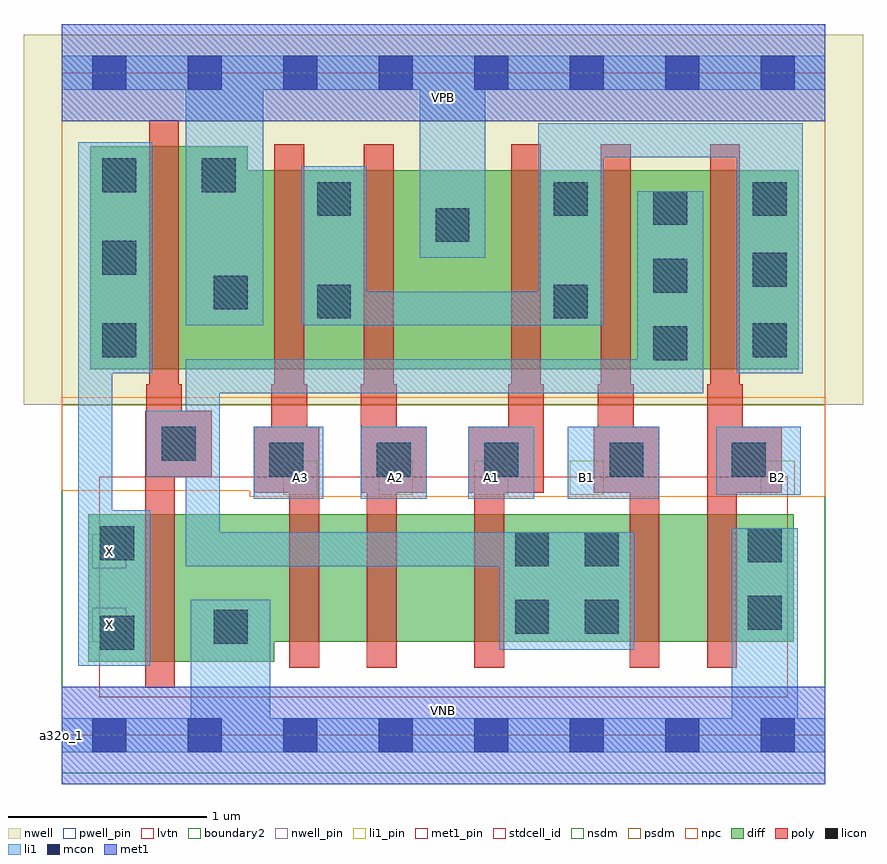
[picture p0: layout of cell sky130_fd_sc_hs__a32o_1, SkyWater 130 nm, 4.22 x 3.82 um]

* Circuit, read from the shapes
.subckt sky130_fd_sc_hs__a32o_1 A1 A2 A3 B1 B2 VGND VNB VPB VPWR X
XM1 VGND n1 X VNB sky130_fd_pr__nfet_01v8_lvt w=0.74 l=0.15
XM2 n2 A3 VGND VNB sky130_fd_pr__nfet_01v8_lvt w=0.64 l=0.15
XM3 n3 A2 n2 VNB sky130_fd_pr__nfet_01v8_lvt w=0.64 l=0.15
XM4 n1 A1 n3 VNB sky130_fd_pr__nfet_01v8_lvt w=0.64 l=0.15
XM5 n4 B1 n1 VNB sky130_fd_pr__nfet_01v8_lvt w=0.64 l=0.15
XM6 VGND B2 n4 VNB sky130_fd_pr__nfet_01v8_lvt w=0.64 l=0.15
XM7 VPWR n1 X VPB sky130_fd_pr__pfet_01v8 w=1.12 l=0.15
XM8 n5 A3 VPWR VPB sky130_fd_pr__pfet_01v8 w=1 l=0.15
XM9 VPWR A2 n5 VPB sky130_fd_pr__pfet_01v8 w=1 l=0.15
XM10 n5 A1 VPWR VPB sky130_fd_pr__pfet_01v8 w=1 l=0.15
XM11 n1 B1 n5 VPB sky130_fd_pr__pfet_01v8 w=1 l=0.15
XM12 n5 B2 n1 VPB sky130_fd_pr__pfet_01v8 w=1 l=0.15
.ends

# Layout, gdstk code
import gdstk
lib = gdstk.Library(unit=1e-6, precision=1e-09)
def R(c, l, rs):  # rectangles x0, y0, x1, y1
    for r in rs: c.add(gdstk.rectangle(r[:2], r[2:], *l))
def A(c, l, x, y, w, h, nx, ny, dx, dy):  # array of equal rectangles
    R(c, l, [(x+i*dx, y+j*dy, x+i*dx+w, y+j*dy+h) for i in range(nx) for j in range(ny)])
def P(c, l, *ps):  # polygons
    for p in ps: c.add(gdstk.Polygon(p, *l))
nwell_pin = (64, 16)
nwell = (64, 20)
diff = (65, 20)
poly = (66, 20)
licon = (66, 44)
li1_pin = (67, 16)
li1 = (67, 20)
mcon = (67, 44)
met1_pin = (68, 16)
met1 = (68, 20)
stdcell_id = (81, 4)
nsdm = (93, 44)
psdm = (94, 20)
npc = (95, 20)
pwell_pin = (122, 16)
lvtn = (125, 44)
boundary2 = (236, 0)

sky130_fd_sc_hs__a32o_1 = lib.new_cell('sky130_fd_sc_hs__a32o_1')
R(sky130_fd_sc_hs__a32o_1, nwell_pin, [(0,3.085,3.84,3.33)])
R(sky130_fd_sc_hs__a32o_1, nwell, [(-0.19,1.66,4.03,3.52)])
P(sky130_fd_sc_hs__a32o_1, diff, [(3.68,1.11),(0.135,1.11),(0.135,0.37),(1.07,0.37),(1.07,0.47),(3.68,0.47)],
  [(3.705,2.84),(0.935,2.84),(0.935,2.96),(0.145,2.96),(0.145,1.84),(3.705,1.84)])
P(sky130_fd_sc_hs__a32o_1, poly, [(0.755,1.63),(0.605,1.63),(0.605,1.765),(0.59,1.765),(0.59,3.09),(0.44,3.09),(0.44,1.765),(0.425,1.765),(0.425,1.63),(0.42,1.63),(0.42,0.24),(0.57,0.24),(0.57,1.3),(0.755,1.3)],
  [(1.295,1.55),(1.235,1.55),(1.235,1.765),(1.22,1.765),(1.22,2.97),(1.07,2.97),(1.07,1.765),(1.055,1.765),(1.055,1.55),(0.965,1.55),(0.965,1.22),(1.145,1.22),(1.145,0.34),(1.295,0.34)],
  [(1.835,1.55),(1.685,1.55),(1.685,1.765),(1.67,1.765),(1.67,2.97),(1.52,2.97),(1.52,1.765),(1.505,1.765),(1.505,1.22),(1.535,1.22),(1.535,0.34),(1.685,0.34),(1.685,1.22),(1.835,1.22)],
  [(2.425,1.765),(2.41,1.765),(2.41,2.97),(2.26,2.97),(2.26,1.765),(2.245,1.765),(2.245,1.55),(2.045,1.55),(2.045,1.22),(2.075,1.22),(2.075,0.34),(2.225,0.34),(2.225,1.22),(2.425,1.22)],
  [(3.005,1.55),(2.875,1.55),(2.875,1.765),(2.86,1.765),(2.86,2.97),(2.71,2.97),(2.71,1.765),(2.695,1.765),(2.695,1.55),(2.675,1.55),(2.675,1.22),(2.855,1.22),(2.855,0.34),(3.005,0.34)],
  [(3.62,1.55),(3.425,1.55),(3.425,1.765),(3.41,1.765),(3.41,2.97),(3.26,2.97),(3.26,1.765),(3.245,1.765),(3.245,0.34),(3.395,0.34),(3.395,1.22),(3.62,1.22)])
A(sky130_fd_sc_hs__a32o_1, licon, 1.045, 1.3, 0.17, 0.17, 3, 1, 0.54, 0)
A(sky130_fd_sc_hs__a32o_1, licon, 2.975, 1.885, 0.17, 0.17, 1, 3, 0, 0.34)
A(sky130_fd_sc_hs__a32o_1, licon, 0.205, 1.9, 0.17, 0.17, 1, 3, 0, 0.415)
A(sky130_fd_sc_hs__a32o_1, licon, 3.475, 1.9, 0.17, 0.17, 1, 3, 0, 0.355)
R(sky130_fd_sc_hs__a32o_1, licon, [(0.195,0.43,0.365,0.6), (0.765,0.46,0.935,0.63), (2.28,0.51,2.45,0.68), (2.63,0.51,2.8,0.68), (3.45,0.53,3.62,0.7), (2.28,0.85,2.45,1.02), (2.63,0.85,2.8,1.02), (3.45,0.87,3.62,1.04), (0.195,0.88,0.365,1.05), (2.755,1.3,2.925,1.47), (3.37,1.3,3.54,1.47), (0.505,1.38,0.675,1.55), (1.285,2.095,1.455,2.265), (2.475,2.095,2.645,2.265), (0.765,2.14,0.935,2.31), (1.88,2.48,2.05,2.65), (1.285,2.61,1.455,2.78), (2.475,2.61,2.645,2.78), (0.705,2.73,0.875,2.9)])
A(sky130_fd_sc_hs__a32o_1, li1_pin, 1.115, 1.21, 0.17, 0.17, 4, 1, 0.48, 0)
R(sky130_fd_sc_hs__a32o_1, li1_pin, [(0.155,0.47,0.325,0.64), (0.155,0.84,0.325,1.01), (3.515,1.21,3.685,1.38)])
R(sky130_fd_sc_hs__a32o_1, li1, [(0.965,1.19,1.315,1.55), (1.505,1.19,1.835,1.55), (2.045,1.19,2.375,1.55), (2.545,1.19,3.005,1.55), (3.29,1.21,3.715,1.55)])
P(sky130_fd_sc_hs__a32o_1, li1, [(1.8,2.4),(1.8,3.245),(1.015,3.245),(1.015,2.06),(0.625,2.06),(0.625,3.245),(0,3.245),(0,3.415),(3.84,3.415),(3.84,3.245),(2.13,3.245),(2.13,2.4)],
  [(3.37,0.085),(3.37,1.04),(3.7,1.04),(3.7,0.085),(3.84,0.085),(3.84,-0.085),(0,-0.085),(0,0.085),(0.65,0.085),(0.65,0.68),(1.05,0.68),(1.05,0.085)],
  [(0.625,0.85),(0.625,1.3),(0.425,1.3),(0.425,1.63),(0.625,1.63),(0.625,1.89),(2.895,1.89),(2.895,2.735),(3.225,2.735),(3.225,1.72),(0.795,1.72),(0.795,1.02),(2.88,1.02),(2.88,0.43),(2.2,0.43),(2.2,0.85)],
  [(0.085,0.35),(0.085,2.98),(0.455,2.98),(0.455,1.82),(0.255,1.82),(0.255,1.13),(0.445,1.13),(0.445,0.35)],
  [(2.395,2.23),(2.395,3.075),(3.725,3.075),(3.725,1.82),(3.395,1.82),(3.395,2.905),(2.725,2.905),(2.725,2.06),(1.205,2.06),(1.205,2.86),(1.535,2.86),(1.535,2.23)])
A(sky130_fd_sc_hs__a32o_1, mcon, 0.155, -0.085, 0.17, 0.17, 8, 2, 0.48, 3.33)
R(sky130_fd_sc_hs__a32o_1, met1_pin, [(0,0,3.84,0.245), (0,3.085,3.84,3.33)])
R(sky130_fd_sc_hs__a32o_1, met1, [(0,-0.245,3.84,0.245), (0,3.085,3.84,3.575)])
R(sky130_fd_sc_hs__a32o_1, stdcell_id, [(0,0,3.84,3.33)])
R(sky130_fd_sc_hs__a32o_1, nsdm, [(0,-0.19,3.84,1.66)])
R(sky130_fd_sc_hs__a32o_1, psdm, [(0,1.66,3.84,3.52)])
P(sky130_fd_sc_hs__a32o_1, npc, [(3.84,1.7),(0,1.7),(0,1.23),(0.945,1.23),(0.945,1.2),(3.84,1.2)])
R(sky130_fd_sc_hs__a32o_1, pwell_pin, [(0,0,3.84,0.245)])
R(sky130_fd_sc_hs__a32o_1, lvtn, [(0.19,0.19,3.65,1.3)])
R(sky130_fd_sc_hs__a32o_1, boundary2, [(0,0,3.84,3.33)])
sky130_fd_sc_hs__a32o_1.add(gdstk.Label('a32o_1', (0,0), layer=83, texttype=44))
sky130_fd_sc_hs__a32o_1.add(gdstk.Label('VNB', (1.92,0.123), layer=64, texttype=59))
sky130_fd_sc_hs__a32o_1.add(gdstk.Label('VPB', (1.92,3.208), layer=64, texttype=5))
sky130_fd_sc_hs__a32o_1.add(gdstk.Label('VPWR', (1.92,3.208), layer=68, texttype=5))
sky130_fd_sc_hs__a32o_1.add(gdstk.Label('VGND', (1.92,0.123), layer=68, texttype=5))
sky130_fd_sc_hs__a32o_1.add(gdstk.Label('X', (0.24,0.555), layer=67, texttype=5))
sky130_fd_sc_hs__a32o_1.add(gdstk.Label('X', (0.24,0.925), layer=67, texttype=5))
sky130_fd_sc_hs__a32o_1.add(gdstk.Label('B2', (3.6,1.295), layer=67, texttype=5))
sky130_fd_sc_hs__a32o_1.add(gdstk.Label('B1', (2.64,1.295), layer=67, texttype=5))
sky130_fd_sc_hs__a32o_1.add(gdstk.Label('A2', (1.68,1.295), layer=67, texttype=5))
sky130_fd_sc_hs__a32o_1.add(gdstk.Label('A1', (2.16,1.295), layer=67, texttype=5))
sky130_fd_sc_hs__a32o_1.add(gdstk.Label('A3', (1.2,1.295), layer=67, texttype=5))

lib.write_gds('sky130_fd_sc_hs__a32o_1.gds')
